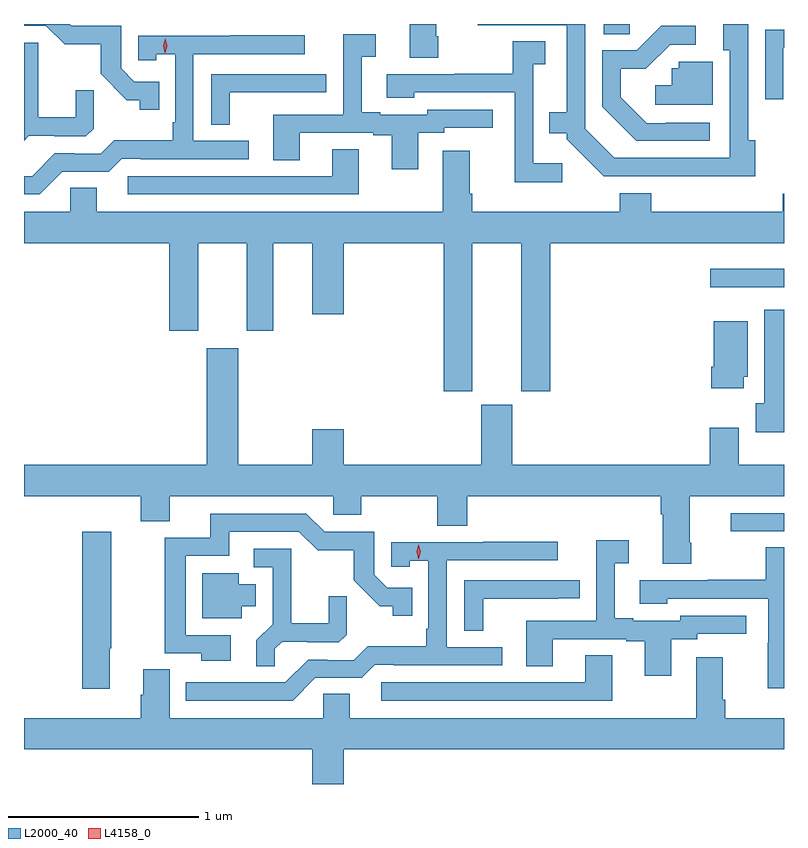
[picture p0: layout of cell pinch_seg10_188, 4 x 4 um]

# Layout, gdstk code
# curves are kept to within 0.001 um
import gdstk
lib = gdstk.Library(unit=1e-6, precision=1e-09)
def R(c, l, rs):  # rectangles x0, y0, x1, y1
    for r in rs: c.add(gdstk.rectangle(r[:2], r[2:], *l))
def P(c, l, *ps):  # polygons
    for p in ps: c.add(gdstk.Polygon(p, *l))
L2000_40 = (2000, 40)
L4158_0 = (4158, 0)

pinch_seg10_188 = lib.new_cell('pinch_seg10_188')
R(pinch_seg10_188, L2000_40, [(754.623,1266.831,754.902,1266.927), (754.515,1268.115,754.902,1268.212), (753.953,1269.448,754.091,1269.501)])
P(pinch_seg10_188, L2000_40, [(754.75,1268.89),(754.713,1268.89),(754.713,1269.501),(754.583,1269.501),(754.583,1269.362),(754.617,1269.362),(754.617,1268.796),(754.008,1268.796),(753.855,1268.949),(753.855,1269.501),(753.291,1269.501),(753.291,1269.495),(753.758,1269.495),(753.758,1269.037),(753.667,1269.037),(753.667,1268.927),(753.759,1268.927),(753.759,1268.895),(753.954,1268.7),(754.75,1268.699)],
  [(753.081,1269.436),(753.073,1269.436),(753.073,1269.501),(752.933,1269.501),(752.933,1269.324),(753.081,1269.324)],
  [(751.613,1269.198),(751.482,1269.198),(751.413,1269.267),(751.413,1269.492),(751.152,1269.492),(751.143,1269.501),(750.902,1269.501),(750.902,1269.492),(751.017,1269.492),(751.116,1269.394),(751.305,1269.394),(751.305,1269.238),(751.442,1269.101),(751.512,1269.101),(751.512,1269.051),(751.613,1269.051)],
  [(754.51,1268.982),(754.279,1268.982),(754.279,1268.979),(754.179,1268.979),(754.042,1269.116),(754.042,1269.266),(754.175,1269.266),(754.302,1269.393),(754.438,1269.393),(754.438,1269.491),(754.256,1269.491),(754.128,1269.363),(753.945,1269.363),(753.945,1269.065),(754.124,1268.886),(754.51,1268.886)],
  [(754.899,1269.375),(754.902,1269.375),(754.902,1269.471),(754.803,1269.471),(754.803,1269.105),(754.899,1269.105)],
  [(752.977,1268.928),(753.114,1268.928),(753.114,1268.955),(753.37,1268.955),(753.37,1269.051),(753.024,1269.051),(753.024,1269.024),(752.776,1269.024),(752.776,1269.037),(752.68,1269.037),(752.68,1269.328),(752.752,1269.328),(752.752,1269.448),(752.583,1269.448),(752.583,1269.024),(752.213,1269.024),(752.213,1268.785),(752.353,1268.785),(752.353,1268.928),(752.741,1268.928),(752.741,1268.916),(752.837,1268.916),(752.837,1268.736),(752.977,1268.736)],
  [(751.104,1268.724),(751.347,1268.724),(751.416,1268.793),(751.516,1268.793),(751.516,1268.79),(752.086,1268.79),(752.086,1268.886),(751.794,1268.886),(751.794,1269.342),(752.38,1269.342),(752.38,1269.441),(751.987,1269.441),(751.987,1269.438),(751.503,1269.438),(751.503,1269.309),(751.599,1269.309),(751.599,1269.341),(751.698,1269.341),(751.698,1268.983),(751.686,1268.983),(751.686,1268.89),(751.378,1268.89),(751.305,1268.817),(751.166,1268.817),(751.166,1268.82),(751.065,1268.82),(750.945,1268.7),(750.902,1268.7),(750.902,1268.604),(750.984,1268.604)],
  [(753.736,1268.767),(753.582,1268.767),(753.582,1269.289),(753.646,1269.289),(753.646,1269.41),(753.474,1269.41),(753.474,1269.24),(753.169,1269.24),(753.169,1269.237),(752.811,1269.237),(752.811,1269.113),(752.955,1269.113),(752.955,1269.141),(753.486,1269.141),(753.486,1268.909),(753.484,1268.909),(753.484,1268.669),(753.736,1268.669)],
  [(750.928,1268.913),(751.062,1268.913),(751.062,1268.91),(751.227,1268.91),(751.268,1268.951),(751.268,1269.153),(751.174,1269.153),(751.174,1269.01),(750.977,1269.01),(750.977,1269.402),(750.902,1269.402),(750.902,1268.887)],
  [(754.528,1269.303),(754.347,1269.303),(754.347,1269.267),(754.311,1269.267),(754.311,1269.178),(754.224,1269.178),(754.224,1269.075),(754.528,1269.075)],
  [(751.986,1269.141),(752.381,1269.141),(752.381,1269.142),(752.494,1269.142),(752.494,1269.237),(751.887,1269.237),(751.887,1268.971),(751.986,1268.971)],
  [(752.665,1268.843),(752.525,1268.843),(752.525,1268.7),(751.449,1268.7),(751.449,1268.604),(752.665,1268.604)],
  [(753.262,1268.348),(753.518,1268.348),(753.518,1267.569),(753.671,1267.569),(753.671,1268.348),(754.902,1268.348),(754.902,1268.608),(754.895,1268.608),(754.895,1268.512),(754.202,1268.512),(754.202,1268.611),(754.037,1268.611),(754.037,1268.512),(753.26,1268.512),(753.26,1268.608),(753.247,1268.608),(753.247,1268.833),(753.107,1268.833),(753.107,1268.512),(751.285,1268.512),(751.285,1268.639),(751.146,1268.639),(751.146,1268.512),(750.902,1268.512),(750.902,1268.348),(751.667,1268.348),(751.667,1267.887),(751.819,1267.887),(751.819,1268.348),(752.075,1268.348),(752.075,1267.887),(752.215,1267.887),(752.215,1268.348),(752.42,1268.348),(752.42,1267.974),(752.584,1267.974),(752.584,1268.348),(753.11,1268.348),(753.11,1267.569),(753.262,1267.569)],
  [(754.902,1267.996),(754.799,1267.996),(754.799,1267.506),(754.754,1267.506),(754.754,1267.352),(754.902,1267.352)],
  [(754.69,1267.644),(754.711,1267.644),(754.711,1267.936),(754.532,1267.936),(754.532,1267.696),(754.52,1267.696),(754.52,1267.584),(754.69,1267.584)],
  [(754.413,1266.772),(754.405,1266.772),(754.405,1267.016),(754.902,1267.016),(754.902,1267.18),(754.663,1267.18),(754.663,1267.375),(754.511,1267.375),(754.511,1267.18),(753.472,1267.18),(753.472,1267.497),(753.308,1267.497),(753.308,1267.18),(752.584,1267.18),(752.584,1267.369),(752.42,1267.369),(752.42,1267.18),(752.029,1267.18),(752.029,1267.795),(751.865,1267.795),(751.865,1267.18),(750.902,1267.18),(750.902,1267.016),(751.517,1267.016),(751.517,1266.883),(751.669,1266.883),(751.669,1267.016),(752.529,1267.016),(752.529,1266.918),(752.676,1266.918),(752.676,1267.016),(753.076,1267.016),(753.076,1266.859),(753.236,1266.859),(753.236,1267.016),(754.253,1267.016),(754.253,1266.92),(754.265,1266.92),(754.265,1266.66),(754.413,1266.66)],
  [(751.99,1266.285),(751.752,1266.285),(751.752,1266.702),(751.981,1266.702),(751.981,1266.828),(752.349,1266.828),(752.448,1266.73),(752.637,1266.73),(752.637,1266.574),(752.774,1266.437),(752.844,1266.437),(752.844,1266.387),(752.945,1266.387),(752.945,1266.534),(752.814,1266.534),(752.745,1266.603),(752.745,1266.828),(752.484,1266.828),(752.388,1266.924),(751.883,1266.924),(751.883,1266.798),(751.644,1266.798),(751.644,1266.189),(751.834,1266.189),(751.834,1266.149),(751.99,1266.149)],
  [(751.354,1266.215),(751.362,1266.215),(751.362,1266.829),(751.208,1266.829),(751.208,1266.003),(751.354,1266.003)],
  [(754.309,1266.264),(754.446,1266.264),(754.446,1266.291),(754.702,1266.291),(754.702,1266.387),(754.356,1266.387),(754.356,1266.36),(754.108,1266.36),(754.108,1266.373),(754.012,1266.373),(754.012,1266.664),(754.084,1266.664),(754.084,1266.784),(753.915,1266.784),(753.915,1266.36),(753.545,1266.36),(753.545,1266.121),(753.685,1266.121),(753.685,1266.264),(754.073,1266.264),(754.073,1266.252),(754.169,1266.252),(754.169,1266.072),(754.309,1266.072)],
  [(752.436,1266.06),(752.679,1266.06),(752.748,1266.129),(752.848,1266.129),(752.848,1266.126),(753.418,1266.126),(753.418,1266.222),(753.126,1266.222),(753.126,1266.678),(753.712,1266.678),(753.712,1266.777),(753.319,1266.777),(753.319,1266.774),(752.835,1266.774),(752.835,1266.645),(752.931,1266.645),(752.931,1266.677),(753.03,1266.677),(753.03,1266.319),(753.018,1266.319),(753.018,1266.226),(752.71,1266.226),(752.637,1266.153),(752.498,1266.153),(752.498,1266.156),(752.397,1266.156),(752.277,1266.036),(751.754,1266.036),(751.754,1265.94),(752.316,1265.94)],
  [(754.902,1266.746),(754.806,1266.746),(754.806,1266.576),(754.501,1266.576),(754.501,1266.573),(754.143,1266.573),(754.143,1266.449),(754.287,1266.449),(754.287,1266.477),(754.818,1266.477),(754.818,1266.245),(754.816,1266.245),(754.816,1266.005),(754.902,1266.005)],
  [(752.223,1266.212),(752.26,1266.249),(752.394,1266.249),(752.394,1266.246),(752.559,1266.246),(752.6,1266.287),(752.6,1266.489),(752.506,1266.489),(752.506,1266.346),(752.309,1266.346),(752.309,1266.738),(752.112,1266.738),(752.112,1266.642),(752.211,1266.642),(752.211,1266.343),(752.125,1266.257),(752.125,1266.121),(752.223,1266.121)],
  [(752.047,1266.437),(752.122,1266.437),(752.122,1266.553),(752.032,1266.553),(752.032,1266.61),(751.841,1266.61),(751.841,1266.374),(752.047,1266.374)],
  [(753.318,1266.477),(753.713,1266.477),(753.713,1266.478),(753.826,1266.478),(753.826,1266.573),(753.219,1266.573),(753.219,1266.307),(753.318,1266.307)],
  [(753.997,1266.179),(753.857,1266.179),(753.857,1266.036),(752.781,1266.036),(752.781,1265.94),(753.997,1265.94)],
  [(752.584,1265.684),(754.902,1265.684),(754.902,1265.848),(754.592,1265.848),(754.592,1265.944),(754.579,1265.944),(754.579,1266.169),(754.439,1266.169),(754.439,1265.848),(752.617,1265.848),(752.617,1265.975),(752.478,1265.975),(752.478,1265.848),(751.669,1265.848),(751.669,1266.104),(751.529,1266.104),(751.529,1265.97),(751.517,1265.97),(751.517,1265.848),(750.902,1265.848),(750.902,1265.684),(752.42,1265.684),(752.42,1265.501),(752.584,1265.501)])
P(pinch_seg10_188, L4158_0, [(751.644,1269.351),(751.644,1269.351),(751.635,1269.387),(751.645,1269.423),(751.645,1269.423),(751.646,1269.423),(751.655,1269.387),(751.645,1269.351)],
  [(752.978,1266.687),(752.969,1266.723),(752.978,1266.758),(752.979,1266.759),(752.979,1266.758),(752.989,1266.723),(752.979,1266.687),(752.979,1266.687)])

lib.write_gds('pinch_seg10_188.gds')
